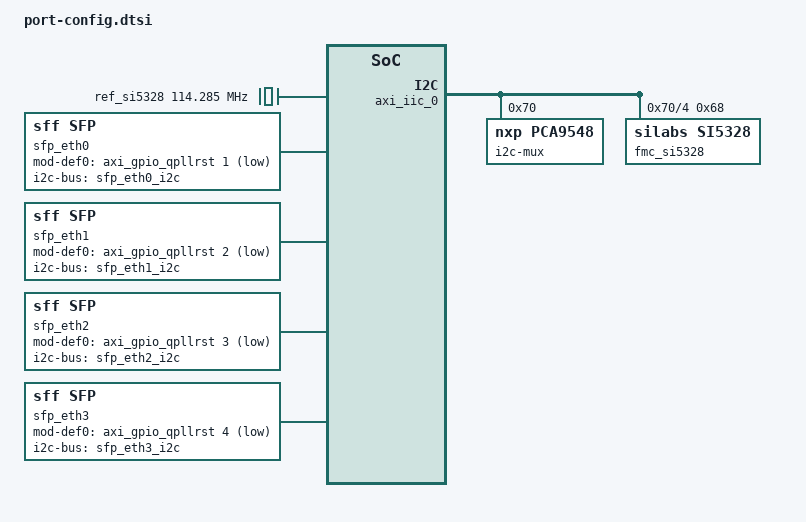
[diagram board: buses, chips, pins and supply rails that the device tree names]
// SPDX-License-Identifier: MIT
// Copyright (C) 2025-2026, Opsero Electronic Design Inc.  All rights reserved.

/*
 * Quad SFP28 FMC (XXV) port config: ports-0123 (ported from PetaLinux bsp/ports-0123).
 * Per-port wiring layered on the SDT-generated Linux device tree.
 */

/ {
	ref_si5328: ref_si5328 {
	    compatible = "fixed-clock";
	    #clock-cells = <0>;
	    clock-frequency = <114285000>;
	};
};

/* Quad SFP28 FMC PL I2C. The four SFP cage I2C buses sit behind a pca9548
 * mux; each gets a label so the corresponding sfp-eth* node can reference
 * it via "i2c-bus" for module EEPROM/diagnostics access. */
&axi_iic_0 {
        i2c-mux@70 {
                compatible = "nxp,pca9548";
                #address-cells = <1>;
                #size-cells = <0>;
                reg = <0x70>;
                sfp_eth0_i2c: i2c@0 {
                        #address-cells = <1>;
                        #size-cells = <0>;
                        reg = <0>;
                        /* SFP28 slot 0 */
                };
                sfp_eth1_i2c: i2c@1 {
                        #address-cells = <1>;
                        #size-cells = <0>;
                        reg = <1>;
                        /* SFP28 slot 1 */
                };
                sfp_eth2_i2c: i2c@2 {
                        #address-cells = <1>;
                        #size-cells = <0>;
                        reg = <2>;
                        /* SFP28 slot 2 */
                };
                sfp_eth3_i2c: i2c@3 {
                        #address-cells = <1>;
                        #size-cells = <0>;
                        reg = <3>;
                        /* SFP28 slot 3 */
                };
                i2c@4 {
                        #address-cells = <1>;
                        #size-cells = <0>;
                        reg = <4>;
                        fmc_si5328: clock-generator@68 {
                                status = "okay";
                                compatible = "silabs,si5328";
                                reg = <0x68>;
                                #address-cells = <1>;
                                #size-cells = <0>;
                                #clock-cells = <1>;
                                clocks = <&ref_si5328>;
                                clock-names = "xtal";

                                fmc_si5328_clk: clk0@0 {
                                        reg = <0>;
                                        clock-frequency = <156250000>;
                                };
                        };
                };
        };
};

/* SFP cage descriptors for the kernel SFP framework. Each cage has its
 * own EEPROM I2C bus (sfp_ethN_i2c, defined in the pca9548 above) and
 * a MOD_ABS line on axi_gpio_qpllrst Channel 2 (line indices 1..4 —
 * Channel 1 line 0 is the qpllreset output). Active-low: line LOW =
 * module present, line HIGH = module absent. With the sfp = <&...>
 * link below, phylink delegates module presence detection to the SFP
 * framework and keeps quiet on empty cages instead of flapping the
 * in-band-status link state. */
/ {
        sfp_eth0: sfp-eth0 {
                compatible = "sff,sfp";
                i2c-bus = <&sfp_eth0_i2c>;
                mod-def0-gpios = <&axi_gpio_qpllrst 1 1>;
                maximum-power-milliwatt = <2000>;
        };

        sfp_eth1: sfp-eth1 {
                compatible = "sff,sfp";
                i2c-bus = <&sfp_eth1_i2c>;
                mod-def0-gpios = <&axi_gpio_qpllrst 2 1>;
                maximum-power-milliwatt = <2000>;
        };

        sfp_eth2: sfp-eth2 {
                compatible = "sff,sfp";
                i2c-bus = <&sfp_eth2_i2c>;
                mod-def0-gpios = <&axi_gpio_qpllrst 3 1>;
                maximum-power-milliwatt = <2000>;
        };

        sfp_eth3: sfp-eth3 {
                compatible = "sff,sfp";
                i2c-bus = <&sfp_eth3_i2c>;
                mod-def0-gpios = <&axi_gpio_qpllrst 4 1>;
                maximum-power-milliwatt = <2000>;
        };
};

/* Per-port XXV overrides:
 *  - qpllreset-gpios: every port carries the same shared QPLL reset GPIO
 *    (Channel 1 bit 0 of axi_gpio_qpllrst). The patched xilinx_axienet
 *    driver pulses it once at the first device_reset() to re-lock the
 *    GTH QPLL after the Si5328 refclk reconfiguration glitch. Flag 0 =
 *    GPIO_ACTIVE_HIGH.
 *  - sfp: links each MAC to its SFP cage descriptor so phylink only
 *    brings up cages that have a module installed.
 *  - local-mac-address: ports 1-3 get fixed MACs here; port 0 already
 *    gets 00:0a:35:00:00:01 from the SDT-generated pl.dtsi. Without
 *    these the kernel synthesises a random MAC every boot. */
&xxv_ethernet_0 {
        qpllreset-gpios = <&axi_gpio_qpllrst 0 0>;
        sfp = <&sfp_eth0>;
};

&xxv_ethernet_0_1 {
        qpllreset-gpios = <&axi_gpio_qpllrst 0 0>;
        sfp = <&sfp_eth1>;
        local-mac-address = [00 0a 35 00 00 02];
};

&xxv_ethernet_0_2 {
        qpllreset-gpios = <&axi_gpio_qpllrst 0 0>;
        sfp = <&sfp_eth2>;
        local-mac-address = [00 0a 35 00 00 03];
};

&xxv_ethernet_0_3 {
        qpllreset-gpios = <&axi_gpio_qpllrst 0 0>;
        sfp = <&sfp_eth3>;
        local-mac-address = [00 0a 35 00 00 04];
};
